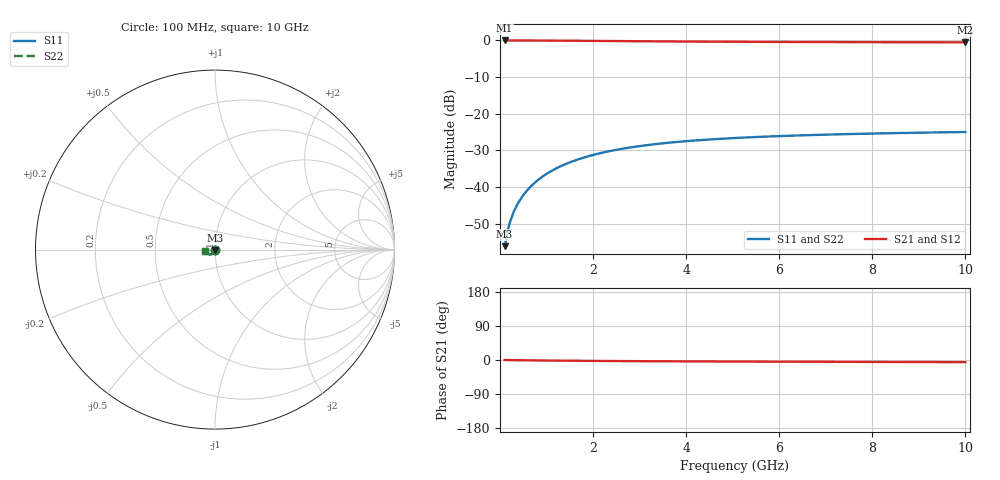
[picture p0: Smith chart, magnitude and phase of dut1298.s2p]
! Touchstone file exported from HFSS 2024.1.0
!  File:  C:/UserFiles/LocalFiles/RDL_TSV_Batchsim/temp_TSV1_1298_1780256762.aedt
!  Generated:  03:52:30 AM Jun  1, 2026
!  Design:  TSV1
!  Project:  temp_TSV1_1298_1780256762
!  Setup:  Setup1
!  Solution:  Sweep
! Variables:
!  dtsv = 11.22um
!  hbump = 3um
!  htsv = 90.58um
!  lrdl = 252.1521522um
!  p = 40
!  p1 = 49.07um
!  t = 500um
!  trdl = 3um
!  wrdl = 24.89489489um
# GHz S MA R 50.000000
! Terminal data exported
! Port[1] = TSV22_T1
! Port[2] = TSV22_T2
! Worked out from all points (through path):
!   100 points, 100 MHz to 10 GHz, reference 50 ohm
!   highest |S21| = 0.00 dB at 100 MHz (marker M1); lowest = -0.5 dB at 10 GHz (marker M2)
!   lowest |S11| = -56.2 dB at 100 MHz (marker M3), VSWR 1.00, Z = 50 - j0.155 ohm
!   |S11| at or under -10 dB: start of sweep to end of sweep
!   |S22| runs from -56.2 to -25.0 dB; largest |S21 - S12| = 5.8e-15
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0.1  0.001556 -87.1  0.9998 -0.1  0.9998 -0.1  0.001556 -87.1
! Gamma 0 0 0 0
! Port Impedance 50 0 50 0
0.2  0.003105 -91.0  0.9997 -0.3  0.9997 -0.3  0.003105 -91.0
0.3  0.004654 -93.4  0.9994 -0.4  0.9994 -0.4  0.004654 -93.4
0.4  0.006196 -95.4  0.9991 -0.6  0.9991 -0.6  0.006196 -95.4
0.5  0.007727 -97.4  0.9986 -0.7  0.9986 -0.7  0.007727 -97.4
0.6  0.009243 -99.2  0.9981 -0.8  0.9981 -0.8  0.009243 -99.2
0.7  0.01074 -101.0  0.9976 -1.0  0.9976 -1.0  0.01074 -101.0
0.8  0.01221 -102.8  0.9969 -1.1  0.9969 -1.1  0.01221 -102.8
0.9  0.01366 -104.5  0.9962 -1.2  0.9962 -1.2  0.01366 -104.5
1.1  0.01646 -107.8  0.9946 -1.5  0.9946 -1.5  0.01646 -107.8
1.4  0.02042 -112.6  0.9918 -1.8  0.9918 -1.8  0.02042 -112.6
1.6  0.02288 -115.6  0.9898 -2.0  0.9898 -2.0  0.02288 -115.6
1.8  0.02519 -118.5  0.9878 -2.2  0.9878 -2.2  0.02519 -118.5
2.1  0.02838 -122.6  0.9846 -2.5  0.9846 -2.5  0.02838 -122.6
2.5  0.03215 -127.6  0.9803 -2.8  0.9803 -2.8  0.03215 -127.6
2.9  0.03539 -132.2  0.9762 -3.1  0.9762 -3.1  0.03539 -132.2
3.4  0.03882 -137.3  0.9715 -3.3  0.9715 -3.3  0.03882 -137.3
4.2  0.04314 -144.2  0.965 -3.7  0.965 -3.7  0.04314 -144.2
5.1  0.04676 -150.8  0.9592 -4.1  0.9592 -4.1  0.04676 -150.8
6.7  0.05116 -160.0  0.9516 -4.6  0.9516 -4.6  0.05116 -160.0
8.4  0.05422 -167.6  0.9463 -5.2  0.9463 -5.2  0.05422 -167.6
10  0.05628 -173.5  0.9429 -5.7  0.9429 -5.7  0.05628 -173.5
